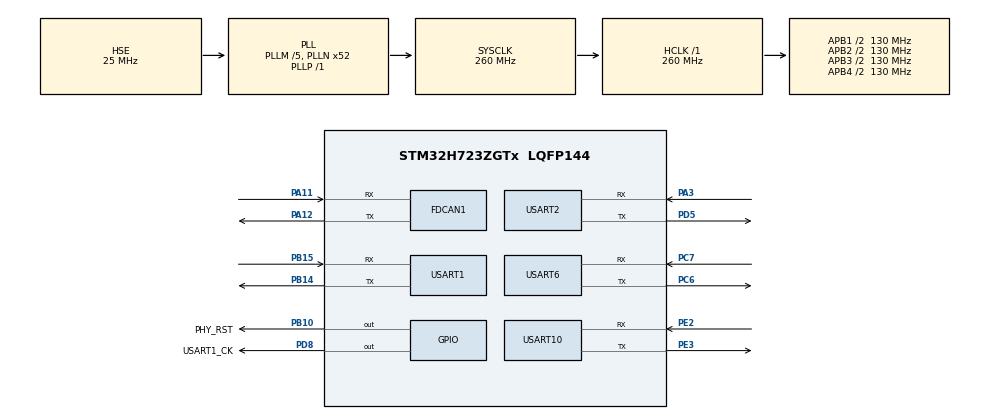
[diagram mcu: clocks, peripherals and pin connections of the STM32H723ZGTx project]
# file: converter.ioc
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CORTEX_M7.MPU_Control=__NULL
CORTEX_M7.default_mode_Activation=1
Dma.Request0=USART10_RX
Dma.Request1=USART10_TX
Dma.Request2=USART1_RX
Dma.Request3=USART1_TX
Dma.Request4=USART2_RX
Dma.Request5=USART2_TX
Dma.Request6=USART6_RX
Dma.Request7=USART6_TX
Dma.USART10_RX.0.Direction=DMA_PERIPH_TO_MEMORY
Dma.USART10_RX.0.EventEnable=DISABLE
Dma.USART10_RX.0.FIFOMode=DMA_FIFOMODE_DISABLE
Dma.USART10_RX.0.Instance=DMA1_Stream0
Dma.USART10_RX.0.MemDataAlignment=DMA_MDATAALIGN_BYTE
Dma.USART10_RX.0.MemInc=DMA_MINC_ENABLE
Dma.USART10_RX.0.Mode=DMA_CIRCULAR
Dma.USART10_RX.0.PeriphDataAlignment=DMA_PDATAALIGN_BYTE
Dma.USART10_RX.0.PeriphInc=DMA_PINC_DISABLE
Dma.USART10_RX.0.Polarity=HAL_DMAMUX_REQ_GEN_RISING
Dma.USART10_RX.0.Priority=DMA_PRIORITY_LOW
Dma.USART10_RX.0.RequestNumber=1
Dma.USART10_RX.0.SignalID=NONE
Dma.USART10_RX.0.SyncEnable=DISABLE
Dma.USART10_RX.0.SyncPolarity=HAL_DMAMUX_SYNC_NO_EVENT
Dma.USART10_RX.0.SyncRequestNumber=1
Dma.USART10_RX.0.SyncSignalID=NONE
Dma.USART10_TX.1.Direction=DMA_MEMORY_TO_PERIPH
Dma.USART10_TX.1.EventEnable=DISABLE
Dma.USART10_TX.1.FIFOMode=DMA_FIFOMODE_DISABLE
Dma.USART10_TX.1.Instance=DMA1_Stream1
Dma.USART10_TX.1.MemDataAlignment=DMA_MDATAALIGN_BYTE
Dma.USART10_TX.1.MemInc=DMA_MINC_ENABLE
Dma.USART10_TX.1.Mode=DMA_NORMAL
Dma.USART10_TX.1.PeriphDataAlignment=DMA_PDATAALIGN_BYTE
Dma.USART10_TX.1.PeriphInc=DMA_PINC_DISABLE
Dma.USART10_TX.1.Polarity=HAL_DMAMUX_REQ_GEN_RISING
Dma.USART10_TX.1.Priority=DMA_PRIORITY_LOW
Dma.USART10_TX.1.RequestNumber=1
Dma.USART10_TX.1.SignalID=NONE
Dma.USART10_TX.1.SyncEnable=DISABLE
Dma.USART10_TX.1.SyncPolarity=HAL_DMAMUX_SYNC_NO_EVENT
Dma.USART10_TX.1.SyncRequestNumber=1
Dma.USART10_TX.1.SyncSignalID=NONE
Dma.USART1_RX.2.Direction=DMA_PERIPH_TO_MEMORY
Dma.USART1_RX.2.EventEnable=DISABLE
Dma.USART1_RX.2.FIFOMode=DMA_FIFOMODE_DISABLE
Dma.USART1_RX.2.Instance=DMA1_Stream2
Dma.USART1_RX.2.MemDataAlignment=DMA_MDATAALIGN_BYTE
Dma.USART1_RX.2.MemInc=DMA_MINC_ENABLE
Dma.USART1_RX.2.Mode=DMA_CIRCULAR
Dma.USART1_RX.2.PeriphDataAlignment=DMA_PDATAALIGN_BYTE
Dma.USART1_RX.2.PeriphInc=DMA_PINC_DISABLE
Dma.USART1_RX.2.Polarity=HAL_DMAMUX_REQ_GEN_RISING
Dma.USART1_RX.2.Priority=DMA_PRIORITY_LOW
Dma.USART1_RX.2.RequestNumber=1
Dma.USART1_RX.2.SignalID=NONE
Dma.USART1_RX.2.SyncEnable=DISABLE
Dma.USART1_RX.2.SyncPolarity=HAL_DMAMUX_SYNC_NO_EVENT
Dma.USART1_RX.2.SyncRequestNumber=1
Dma.USART1_RX.2.SyncSignalID=NONE
Dma.USART1_TX.3.Direction=DMA_MEMORY_TO_PERIPH
Dma.USART1_TX.3.EventEnable=DISABLE
Dma.USART1_TX.3.FIFOMode=DMA_FIFOMODE_DISABLE
Dma.USART1_TX.3.Instance=DMA1_Stream3
Dma.USART1_TX.3.MemDataAlignment=DMA_MDATAALIGN_BYTE
Dma.USART1_TX.3.MemInc=DMA_MINC_ENABLE
Dma.USART1_TX.3.Mode=DMA_NORMAL
Dma.USART1_TX.3.PeriphDataAlignment=DMA_PDATAALIGN_BYTE
Dma.USART1_TX.3.PeriphInc=DMA_PINC_DISABLE
Dma.USART1_TX.3.Polarity=HAL_DMAMUX_REQ_GEN_RISING
Dma.USART1_TX.3.Priority=DMA_PRIORITY_LOW
Dma.USART1_TX.3.RequestNumber=1
Dma.USART1_TX.3.SignalID=NONE
Dma.USART1_TX.3.SyncEnable=DISABLE
Dma.USART1_TX.3.SyncPolarity=HAL_DMAMUX_SYNC_NO_EVENT
Dma.USART1_TX.3.SyncRequestNumber=1
Dma.USART1_TX.3.SyncSignalID=NONE
Dma.USART2_RX.4.Direction=DMA_PERIPH_TO_MEMORY
Dma.USART2_RX.4.EventEnable=DISABLE
Dma.USART2_RX.4.FIFOMode=DMA_FIFOMODE_DISABLE
Dma.USART2_RX.4.Instance=DMA1_Stream4
Dma.USART2_RX.4.MemDataAlignment=DMA_MDATAALIGN_BYTE
Dma.USART2_RX.4.MemInc=DMA_MINC_ENABLE
Dma.USART2_RX.4.Mode=DMA_CIRCULAR
Dma.USART2_RX.4.PeriphDataAlignment=DMA_PDATAALIGN_BYTE
Dma.USART2_RX.4.PeriphInc=DMA_PINC_DISABLE
Dma.USART2_RX.4.Polarity=HAL_DMAMUX_REQ_GEN_RISING
Dma.USART2_RX.4.Priority=DMA_PRIORITY_LOW
Dma.USART2_RX.4.RequestNumber=1
Dma.USART2_RX.4.SignalID=NONE
Dma.USART2_RX.4.SyncEnable=DISABLE
Dma.USART2_RX.4.SyncPolarity=HAL_DMAMUX_SYNC_NO_EVENT
Dma.USART2_RX.4.SyncRequestNumber=1
Dma.USART2_RX.4.SyncSignalID=NONE
Dma.USART2_TX.5.Direction=DMA_MEMORY_TO_PERIPH
Dma.USART2_TX.5.EventEnable=DISABLE
Dma.USART2_TX.5.FIFOMode=DMA_FIFOMODE_DISABLE
Dma.USART2_TX.5.Instance=DMA1_Stream5
Dma.USART2_TX.5.MemDataAlignment=DMA_MDATAALIGN_BYTE
Dma.USART2_TX.5.MemInc=DMA_MINC_ENABLE
Dma.USART2_TX.5.Mode=DMA_NORMAL
Dma.USART2_TX.5.PeriphDataAlignment=DMA_PDATAALIGN_BYTE
Dma.USART2_TX.5.PeriphInc=DMA_PINC_DISABLE
Dma.USART2_TX.5.Polarity=HAL_DMAMUX_REQ_GEN_RISING
Dma.USART2_TX.5.Priority=DMA_PRIORITY_LOW
Dma.USART2_TX.5.RequestNumber=1
Dma.USART2_TX.5.SignalID=NONE
Dma.USART2_TX.5.SyncEnable=DISABLE
Dma.USART2_TX.5.SyncPolarity=HAL_DMAMUX_SYNC_NO_EVENT
Dma.USART2_TX.5.SyncRequestNumber=1
Dma.USART2_TX.5.SyncSignalID=NONE
Dma.USART6_RX.6.Direction=DMA_PERIPH_TO_MEMORY
Dma.USART6_RX.6.EventEnable=DISABLE
Dma.USART6_RX.6.FIFOMode=DMA_FIFOMODE_DISABLE
Dma.USART6_RX.6.Instance=DMA1_Stream6
Dma.USART6_RX.6.MemDataAlignment=DMA_MDATAALIGN_BYTE
Dma.USART6_RX.6.MemInc=DMA_MINC_ENABLE
Dma.USART6_RX.6.Mode=DMA_CIRCULAR
Dma.USART6_RX.6.PeriphDataAlignment=DMA_PDATAALIGN_BYTE
Dma.USART6_RX.6.PeriphInc=DMA_PINC_DISABLE
Dma.USART6_RX.6.Polarity=HAL_DMAMUX_REQ_GEN_RISING
Dma.USART6_RX.6.Priority=DMA_PRIORITY_LOW
Dma.USART6_RX.6.RequestNumber=1
Dma.USART6_RX.6.SignalID=NONE
Dma.USART6_RX.6.SyncEnable=DISABLE
Dma.USART6_RX.6.SyncPolarity=HAL_DMAMUX_SYNC_NO_EVENT
Dma.USART6_RX.6.SyncRequestNumber=1
Dma.USART6_RX.6.SyncSignalID=NONE
Dma.USART6_TX.7.Direction=DMA_MEMORY_TO_PERIPH
Dma.USART6_TX.7.EventEnable=DISABLE
Dma.USART6_TX.7.FIFOMode=DMA_FIFOMODE_DISABLE
Dma.USART6_TX.7.Instance=DMA1_Stream7
Dma.USART6_TX.7.MemDataAlignment=DMA_MDATAALIGN_BYTE
Dma.USART6_TX.7.MemInc=DMA_MINC_ENABLE
Dma.USART6_TX.7.Mode=DMA_NORMAL
Dma.USART6_TX.7.PeriphDataAlignment=DMA_PDATAALIGN_BYTE
Dma.USART6_TX.7.PeriphInc=DMA_PINC_DISABLE
Dma.USART6_TX.7.Polarity=HAL_DMAMUX_REQ_GEN_RISING
Dma.USART6_TX.7.Priority=DMA_PRIORITY_LOW
Dma.USART6_TX.7.RequestNumber=1
Dma.USART6_TX.7.SignalID=NONE
Dma.USART6_TX.7.SyncEnable=DISABLE
Dma.USART6_TX.7.SyncPolarity=HAL_DMAMUX_SYNC_NO_EVENT
Dma.USART6_TX.7.SyncRequestNumber=1
Dma.USART6_TX.7.SyncSignalID=NONE
FDCAN1.CalculateBaudRateNominal=500000
FDCAN1.CalculateTimeBitNominal=2000
FDCAN1.CalculateTimeQuantumNominal=38.46153846153846
FDCAN1.DataPrescaler=5
FDCAN1.DataSyncJumpWidth=12
FDCAN1.DataTimeSeg1=32
FDCAN1.DataTimeSeg2=16
FDCAN1.NominalPrescaler=5
FDCAN1.NominalSyncJumpWidth=12
FDCAN1.NominalTimeSeg1=39
FDCAN1.NominalTimeSeg2=12
FDCAN1.RxFifo0ElmtsNbr=32
FDCAN1.RxFifo1ElmtsNbr=32
FDCAN1.StdFiltersNbr=1
FDCAN1.TxFifoQueueElmtsNbr=6
Mcu.Family=STM32H7
Mcu.Name=STM32H723ZGTx
Mcu.Package=LQFP144
NVIC.DMA1_Stream0_IRQn=true\:0\:0\:false\:false\:true\:false\:true\:true
NVIC.DMA1_Stream1_IRQn=true\:0\:0\:false\:false\:true\:false\:true\:true
NVIC.DMA1_Stream2_IRQn=true\:0\:0\:false\:false\:true\:false\:true\:true
NVIC.DMA1_Stream3_IRQn=true\:0\:0\:false\:false\:true\:false\:true\:true
NVIC.DMA1_Stream4_IRQn=true\:0\:0\:false\:false\:true\:false\:true\:true
NVIC.DMA1_Stream5_IRQn=true\:0\:0\:false\:false\:true\:false\:true\:true
NVIC.DMA1_Stream6_IRQn=true\:0\:0\:false\:false\:true\:false\:true\:true
NVIC.DMA1_Stream7_IRQn=true\:0\:0\:false\:false\:true\:false\:true\:true
NVIC.FDCAN1_IT0_IRQn=true\:0\:0\:false\:false\:true\:true\:true\:true
NVIC.FDCAN1_IT1_IRQn=true\:0\:0\:false\:false\:true\:true\:true\:true
NVIC.PriorityGroup=NVIC_PRIORITYGROUP_4
NVIC.TIM2_IRQn=true\:0\:0\:false\:false\:true\:true\:true\:true
NVIC.USART10_IRQn=true\:0\:0\:false\:false\:true\:true\:true\:true
NVIC.USART1_IRQn=true\:0\:0\:false\:false\:true\:true\:true\:true
NVIC.USART2_IRQn=true\:0\:0\:false\:false\:true\:true\:true\:true
NVIC.USART6_IRQn=true\:0\:0\:false\:false\:true\:true\:true\:true
PA11.Mode=FDCAN_Activate
PA11.Signal=FDCAN1_RX
PA12.Mode=FDCAN_Activate
PA12.Signal=FDCAN1_TX
PA3.Mode=Asynchronous
PA3.Signal=USART2_RX
PB10.GPIO_Label=PHY_RST
PB10.Signal=GPIO_Output
PB14.Mode=Asynchronous
PB14.Signal=USART1_TX
PB15.Mode=Asynchronous
PB15.Signal=USART1_RX
PC6.Mode=Asynchronous
PC6.Signal=USART6_TX
PC7.Mode=Asynchronous
PC7.Signal=USART6_RX
PD5.Mode=Asynchronous
PD5.Signal=USART2_TX
PD8.GPIO_Label=USART1_CK
PD8.Signal=GPIO_Output
PE2.Mode=Asynchronous
PE2.Signal=USART10_RX
PE3.Mode=Asynchronous
PE3.Signal=USART10_TX
PH0-OSC_IN.Mode=HSE-External-Oscillator
PH0-OSC_IN.Signal=RCC_OSC_IN
PH1-OSC_OUT.Mode=HSE-External-Oscillator
PH1-OSC_OUT.Signal=RCC_OSC_OUT
ProjectManager.HeapSize=0x800
ProjectManager.StackSize=0x800
ProjectManager.TargetToolchain=STM32CubeIDE
RCC.ADCFreq_Value=50390625
RCC.APB1Freq_Value=130000000
RCC.APB2Freq_Value=130000000
RCC.APB3Freq_Value=130000000
RCC.APB4Freq_Value=130000000
RCC.CortexFreq_Value=260000000
RCC.D1PPRE=RCC_APB3_DIV2
RCC.D2PPRE1=RCC_APB1_DIV2
RCC.D2PPRE2=RCC_APB2_DIV2
RCC.D3PPRE=RCC_APB4_DIV2
RCC.DIVM1=5
RCC.DIVN1=52
RCC.DIVP1=1
RCC.HCLKFreq_Value=260000000
RCC.PLL2FRACN=0
RCC.PLL3FRACN=0
RCC.PLLFRACN=0
RCC.PLLSourceVirtual=RCC_PLLSOURCE_HSE
RCC.SYSCLKFreq_VALUE=260000000
RCC.SYSCLKSource=RCC_SYSCLKSOURCE_PLLCLK
RCC.USBFreq_Value=130000000
TIM2.Period=999
TIM2.Prescaler=259
USART1.VirtualMode-Asynchronous=VM_ASYNC
USART10.VirtualMode-Asynchronous=VM_ASYNC
USART2.VirtualMode-Asynchronous=VM_ASYNC
USART6.VirtualMode-Asynchronous=VM_ASYNC
VP_MEMORYMAP_VS_MEMORYMAP.Mode=CurAppReg
VP_TIM2_VS_ClockSourceINT.Mode=Internal
board=custom

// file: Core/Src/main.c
/* USER CODE BEGIN Header */
/**
  ******************************************************************************
  * @file           : main.c
  * @brief          : Main program body
  ******************************************************************************
  * @attention
  *
  * Copyright (c) 2024 STMicroelectronics.
  * All rights reserved.
  *
  * This software is licensed under terms that can be found in the LICENSE file
  * in the root directory of this software component.
  * If no LICENSE file comes with this software, it is provided AS-IS.
  *
  ******************************************************************************
  */
/* USER CODE END Header */
#include "main.h"
#include "dma.h"
#include "fdcan.h"
#include "memorymap.h"
#include "tim.h"
#include "usart.h"
#include "gpio.h"

void SystemClock_Config(void);

/* USER CODE BEGIN 0 */
uint8_t can_data_pack[sizeof(struct can_pack_protocol_head)+8+2];
void fdcan_task(void)
{
  uint32_t len = 0;

  if (fdcan_rx_flag) {
    fdcan_rx_flag = 0;
    can_data_packet(&fdcan_rx_frame, can_data_pack, &len);
    serial_block_write(&rs422, can_data_pack, len);
    serial_485_block_write(&rs485, can_data_pack, len);
  }
}
struct converter_protocol protocol_pack;
struct fdcan_tx_frame fdcan_tx_frame;
void serial_task(void)
{
  if (serial_get_data(&rs422, &protocol_pack)) {
    serial_data_packet(&protocol_pack, &fdcan_tx_frame);
    fdcan1_send(&fdcan_tx_frame);
  }
  if (serial_get_data(&rs485, &protocol_pack)) {
    serial_data_packet(&protocol_pack, &fdcan_tx_frame);
    fdcan1_send(&fdcan_tx_frame);
  }

}
/* USER CODE END 0 */

int main(void)
{

  /* MCU Configuration--------------------------------------------------------*/

  /* Reset of all peripherals, Initializes the Flash interface and the Systick. */
  HAL_Init();

  /* Configure the system clock */
  SystemClock_Config();

  /* Initialize all configured peripherals */
  MX_GPIO_Init();
  MX_DMA_Init();
  MX_FDCAN1_Init();
  MX_USART10_UART_Init();
  MX_USART1_UART_Init();
  MX_USART2_UART_Init();
  MX_USART6_UART_Init();
  MX_TIM2_Init();
  /* USER CODE BEGIN 2 */
  serial_start(&rs422, &huart2);
  serial_start(&rs485, &huart1);
  fdcan1_start();
  /* USER CODE END 2 */

  /* Infinite loop */
  while (1)
  {
    fdcan_task();
    serial_task();
  }
}

void SystemClock_Config(void)
{
  RCC_OscInitTypeDef RCC_OscInitStruct = {0};
  RCC_ClkInitTypeDef RCC_ClkInitStruct = {0};

  /** Supply configuration update enable
  */
  HAL_PWREx_ConfigSupply(PWR_LDO_SUPPLY);

  /** Configure the main internal regulator output voltage
  */
  __HAL_PWR_VOLTAGESCALING_CONFIG(PWR_REGULATOR_VOLTAGE_SCALE0);

  while(!__HAL_PWR_GET_FLAG(PWR_FLAG_VOSRDY)) {}

  /** Initializes the RCC Oscillators according to the specified parameters
  * in the RCC_OscInitTypeDef structure.
  */
  RCC_OscInitStruct.OscillatorType = RCC_OSCILLATORTYPE_HSE;
  RCC_OscInitStruct.HSEState = RCC_HSE_ON;
  RCC_OscInitStruct.PLL.PLLState = RCC_PLL_ON;
  RCC_OscInitStruct.PLL.PLLSource = RCC_PLLSOURCE_HSE;
  RCC_OscInitStruct.PLL.PLLM = 5;
  RCC_OscInitStruct.PLL.PLLN = 52;
  RCC_OscInitStruct.PLL.PLLP = 1;
  RCC_OscInitStruct.PLL.PLLQ = 2;
  RCC_OscInitStruct.PLL.PLLR = 2;
  RCC_OscInitStruct.PLL.PLLRGE = RCC_PLL1VCIRANGE_2;
  RCC_OscInitStruct.PLL.PLLVCOSEL = RCC_PLL1VCOWIDE;
  RCC_OscInitStruct.PLL.PLLFRACN = 0;
  if (HAL_RCC_OscConfig(&RCC_OscInitStruct) != HAL_OK)
  {
    Error_Handler();
  }

  /** Initializes the CPU, AHB and APB buses clocks
  */
  RCC_ClkInitStruct.ClockType = RCC_CLOCKTYPE_HCLK|RCC_CLOCKTYPE_SYSCLK
                              |RCC_CLOCKTYPE_PCLK1|RCC_CLOCKTYPE_PCLK2
                              |RCC_CLOCKTYPE_D3PCLK1|RCC_CLOCKTYPE_D1PCLK1;
  RCC_ClkInitStruct.SYSCLKSource = RCC_SYSCLKSOURCE_PLLCLK;
  RCC_ClkInitStruct.SYSCLKDivider = RCC_SYSCLK_DIV1;
  RCC_ClkInitStruct.AHBCLKDivider = RCC_HCLK_DIV1;
  RCC_ClkInitStruct.APB3CLKDivider = RCC_APB3_DIV2;
  RCC_ClkInitStruct.APB1CLKDivider = RCC_APB1_DIV2;
  RCC_ClkInitStruct.APB2CLKDivider = RCC_APB2_DIV2;
  RCC_ClkInitStruct.APB4CLKDivider = RCC_APB4_DIV2;

  if (HAL_RCC_ClockConfig(&RCC_ClkInitStruct, FLASH_LATENCY_3) != HAL_OK)
  {
    Error_Handler();
  }
}

void Error_Handler(void)
{
  __disable_irq();
  while (1)
  {
  }
}
